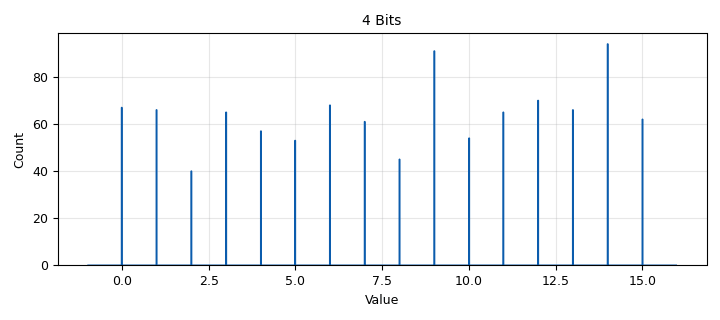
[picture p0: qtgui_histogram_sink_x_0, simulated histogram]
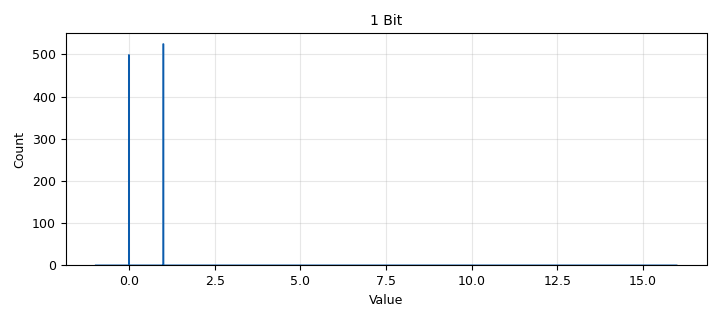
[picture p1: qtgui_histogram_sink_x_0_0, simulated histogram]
options:
  parameters:
    author: handong
    generate_options: qt_gui
    id: Packing_Bits
    output_language: python
    title: packbits
  states: {}

blocks:
- name: samp_rate
  id: variable
  parameters:
    value: '32000'
  states: {}
- name: analog_random_source_x_0
  id: analog_random_source_x
  parameters:
    max: '2'
    min: '0'
    num_samps: '1000'
    repeat: 'True'
    type: byte
  states: {}
- name: blocks_char_to_float_0
  id: blocks_char_to_float
  parameters:
    scale: '1'
  states: {}
- name: blocks_char_to_float_0_0
  id: blocks_char_to_float
  parameters:
    scale: '1'
  states: {}
- name: blocks_pack_k_bits_bb_0
  id: blocks_pack_k_bits_bb
  parameters:
    k: '4'
  states: {}
- name: blocks_throttle2_0
  id: blocks_throttle2
  parameters:
    samples_per_second: samp_rate
    type: byte
  states: {}
- name: qtgui_histogram_sink_x_0
  id: qtgui_histogram_sink_x
  parameters:
    bins: '1024'
    name: '"4 Bits"'
    size: '1024'
    type: float
    xmax: '16'
    xmin: '-1'
  states: {}
- name: qtgui_histogram_sink_x_0_0
  id: qtgui_histogram_sink_x
  parameters:
    bins: '1024'
    name: '"1 Bit"'
    size: '1024'
    type: float
    xmax: '16'
    xmin: '-1'
  states: {}
- name: uhd_usrp_sink_0
  id: uhd_usrp_sink
  parameters:
    ant0: '"TX/RX"'
    center_freq0: '0'
    gain0: '0'
    samp_rate: samp_rate
    sync: sync
    type: fc32
  states: {state: disabled}
- name: uhd_usrp_source_0
  id: uhd_usrp_source
  parameters:
    ant0: '"RX2"'
    center_freq0: '0'
    gain0: '0'
    samp_rate: samp_rate
    sync: sync
    type: fc32
  states: {state: disabled}

connections:
- [analog_random_source_x_0, '0', blocks_throttle2_0, '0']
- [blocks_char_to_float_0, '0', qtgui_histogram_sink_x_0, '0']
- [blocks_char_to_float_0_0, '0', qtgui_histogram_sink_x_0_0, '0']
- [blocks_pack_k_bits_bb_0, '0', blocks_char_to_float_0, '0']
- [blocks_throttle2_0, '0', blocks_char_to_float_0_0, '0']
- [blocks_throttle2_0, '0', blocks_pack_k_bits_bb_0, '0']

metadata:
  file_format: 1
  grc_version: 3.10.7.0
